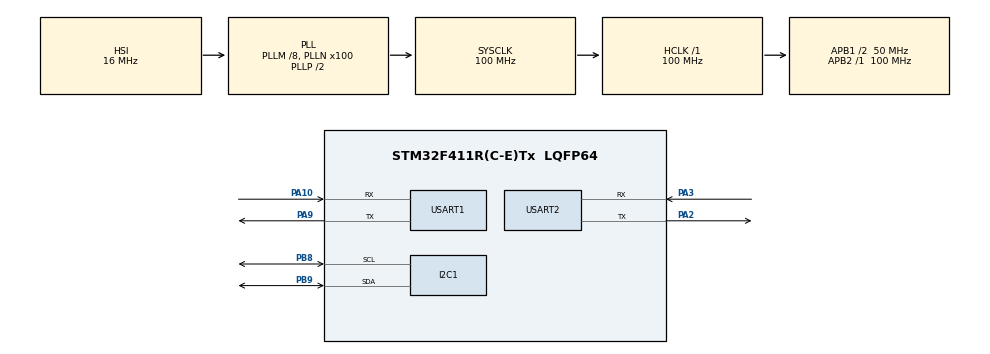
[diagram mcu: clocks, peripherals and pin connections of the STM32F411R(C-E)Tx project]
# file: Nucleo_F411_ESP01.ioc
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Mcu.Family=STM32F4
Mcu.Name=STM32F411R(C-E)Tx
Mcu.Package=LQFP64
NVIC.PriorityGroup=NVIC_PRIORITYGROUP_4
NVIC.USART1_IRQn=true\:0\:0\:false\:false\:true\:true\:true
PA10.Mode=Asynchronous
PA10.Signal=USART1_RX
PA13.Mode=Trace_Asynchronous_SW
PA13.Signal=SYS_JTMS-SWDIO
PA14.Mode=Trace_Asynchronous_SW
PA14.Signal=SYS_JTCK-SWCLK
PA2.Mode=Asynchronous
PA2.Signal=USART2_TX
PA3.Mode=Asynchronous
PA3.Signal=USART2_RX
PA9.Mode=Asynchronous
PA9.Signal=USART1_TX
PB3.Mode=Trace_Asynchronous_SW
PB3.Signal=SYS_JTDO-SWO
PB8.Mode=I2C
PB8.Signal=I2C1_SCL
PB9.Mode=I2C
PB9.Signal=I2C1_SDA
PC14-OSC32_IN.Mode=LSE-External-Oscillator
PC14-OSC32_IN.Signal=RCC_OSC32_IN
PC15-OSC32_OUT.Mode=LSE-External-Oscillator
PC15-OSC32_OUT.Signal=RCC_OSC32_OUT
PH0\ -\ OSC_IN.Mode=HSE-External-Clock-Source
PH0\ -\ OSC_IN.Signal=RCC_OSC_IN
PH1\ -\ OSC_OUT.Mode=HSE-External-Clock-Source
PH1\ -\ OSC_OUT.Signal=RCC_OSC_OUT
ProjectManager.HeapSize=0x200
ProjectManager.StackSize=0x400
ProjectManager.TargetToolchain=STM32CubeIDE
RCC.48MHZClocksFreq_Value=50000000
RCC.AHBFreq_Value=100000000
RCC.APB1CLKDivider=RCC_HCLK_DIV2
RCC.APB1Freq_Value=50000000
RCC.APB1TimFreq_Value=100000000
RCC.APB2Freq_Value=100000000
RCC.APB2TimFreq_Value=100000000
RCC.CortexFreq_Value=100000000
RCC.HCLKFreq_Value=100000000
RCC.HSE_VALUE=25000000
RCC.HSI_VALUE=16000000
RCC.PLLM=8
RCC.PLLN=100
RCC.SYSCLKFreq_VALUE=100000000
RCC.SYSCLKSource=RCC_SYSCLKSOURCE_PLLCLK
RCC.VCOOutputFreq_Value=200000000
USART1.VirtualMode=VM_ASYNC
USART2.VirtualMode=VM_ASYNC
board=custom

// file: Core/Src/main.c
/* USER CODE BEGIN Header */
/**
  ******************************************************************************
  * @file           : main.c
  * @brief          : Main program body
  ******************************************************************************
  * @attention
  *
  * Copyright (c) 2022 STMicroelectronics.
  * All rights reserved.
  *
  * This software is licensed under terms that can be found in the LICENSE file
  * in the root directory of this software component.
  * If no LICENSE file comes with this software, it is provided AS-IS.
  *
  ******************************************************************************
  */
/* USER CODE END Header */
#include "main.h"

/* USER CODE BEGIN Includes */
#include <stdio.h>
#include <stdlib.h>
#include <string.h>
//#include "tsl2561.h"
#include "BME280_STM32.h"

#include "ESPDataLogger.h"

/* USER CODE END Includes */

I2C_HandleTypeDef hi2c1;

UART_HandleTypeDef huart1;
UART_HandleTypeDef huart2;

void SystemClock_Config(void);
static void MX_GPIO_Init(void);
static void MX_I2C1_Init(void);
static void MX_USART1_UART_Init(void);
static void MX_USART2_UART_Init(void);

/* USER CODE BEGIN 0 */
float Temperature, Pressure, Humidity;

/* USER CODE END 0 */

int main(void)
{

  /* MCU Configuration--------------------------------------------------------*/

  /* Reset of all peripherals, Initializes the Flash interface and the Systick. */
  HAL_Init();

  /* Configure the system clock */
  SystemClock_Config();

  /* Initialize all configured peripherals */
  MX_GPIO_Init();
  MX_I2C1_Init();
  MX_USART1_UART_Init();
  MX_USART2_UART_Init();
  /* USER CODE BEGIN 2 */

  BME280_Config(OSRS_2, OSRS_16, OSRS_1, MODE_NORMAL, T_SB_0p5, IIR_16);

  char buffer[256];
  sprintf(buffer, "Start\n");
  HAL_UART_Transmit(&huart2, (uint8_t*)buffer, strlen(buffer), HAL_MAX_DELAY);
  HAL_Delay(1000);

//  uint16_t broadband, ir;
//  uint32_t lux;

  // Initialise luminosity sensor
//  TSL2561_Init(&hi2c1);
//  uint16_t Value_Buf [4];
  float Value_Buf [4];

  ESP_Init("OnePlus_8T", "E12345678_1");
//  ESP_Init("molson", "E123456m");
  /* USER CODE END 2 */

  /* Infinite loop */
  while (1)
  {

    /* USER CODE BEGIN 3 */
//	  TSL2561_SetTiming(&hi2c1, TSL2561_INTEGRATIONTIME_101MS, TSL2561_GAIN_0X);

//	  // Check luminosity level and calculate lux
//	  TSL2561_GetLuminosity(&hi2c1, &broadband, &ir);
//	  lux = TSL2561_CalculateLux(broadband, ir);
//
//	  int sz=sprintf(buffer, "broadband %u IR %u LUX %lu\r\n", broadband, ir, lux);
//	  HAL_UART_Transmit(&huart2, (uint8_t*)buffer, sz, HAL_MAX_DELAY);
	  BME280_Measure();
//Temperature, Pressure, Humidity
	  Value_Buf[0] = Temperature;
	  Value_Buf[1] = Pressure;
	  Value_Buf[2] = Humidity;
	  ESP_Send_Multi_Float ("7QR1WMIRHFUXG9NL", 3, Value_Buf);
	  //ESP_Send_Multi("7QR1WMIRHFUXG9NL", 3, Value_Buf);

	  HAL_Delay(15000); // must be at least 15 sec delay between 2 send
  }
  /* USER CODE END 3 */
}

void SystemClock_Config(void)
{
  RCC_OscInitTypeDef RCC_OscInitStruct = {0};
  RCC_ClkInitTypeDef RCC_ClkInitStruct = {0};

  /** Configure the main internal regulator output voltage
  */
  __HAL_RCC_PWR_CLK_ENABLE();
  __HAL_PWR_VOLTAGESCALING_CONFIG(PWR_REGULATOR_VOLTAGE_SCALE1);
  /** Initializes the RCC Oscillators according to the specified parameters
  * in the RCC_OscInitTypeDef structure.
  */
  RCC_OscInitStruct.OscillatorType = RCC_OSCILLATORTYPE_HSI;
  RCC_OscInitStruct.HSIState = RCC_HSI_ON;
  RCC_OscInitStruct.HSICalibrationValue = RCC_HSICALIBRATION_DEFAULT;
  RCC_OscInitStruct.PLL.PLLState = RCC_PLL_ON;
  RCC_OscInitStruct.PLL.PLLSource = RCC_PLLSOURCE_HSI;
  RCC_OscInitStruct.PLL.PLLM = 8;
  RCC_OscInitStruct.PLL.PLLN = 100;
  RCC_OscInitStruct.PLL.PLLP = RCC_PLLP_DIV2;
  RCC_OscInitStruct.PLL.PLLQ = 4;
  if (HAL_RCC_OscConfig(&RCC_OscInitStruct) != HAL_OK)
  {
    Error_Handler();
  }
  /** Initializes the CPU, AHB and APB buses clocks
  */
  RCC_ClkInitStruct.ClockType = RCC_CLOCKTYPE_HCLK|RCC_CLOCKTYPE_SYSCLK
                              |RCC_CLOCKTYPE_PCLK1|RCC_CLOCKTYPE_PCLK2;
  RCC_ClkInitStruct.SYSCLKSource = RCC_SYSCLKSOURCE_PLLCLK;
  RCC_ClkInitStruct.AHBCLKDivider = RCC_SYSCLK_DIV1;
  RCC_ClkInitStruct.APB1CLKDivider = RCC_HCLK_DIV2;
  RCC_ClkInitStruct.APB2CLKDivider = RCC_HCLK_DIV1;

  if (HAL_RCC_ClockConfig(&RCC_ClkInitStruct, FLASH_LATENCY_3) != HAL_OK)
  {
    Error_Handler();
  }
}

static void MX_I2C1_Init(void)
{

  hi2c1.Instance = I2C1;
  hi2c1.Init.ClockSpeed = 100000;
  hi2c1.Init.DutyCycle = I2C_DUTYCYCLE_2;
  hi2c1.Init.OwnAddress1 = 0;
  hi2c1.Init.AddressingMode = I2C_ADDRESSINGMODE_7BIT;
  hi2c1.Init.DualAddressMode = I2C_DUALADDRESS_DISABLE;
  hi2c1.Init.OwnAddress2 = 0;
  hi2c1.Init.GeneralCallMode = I2C_GENERALCALL_DISABLE;
  hi2c1.Init.NoStretchMode = I2C_NOSTRETCH_DISABLE;
  if (HAL_I2C_Init(&hi2c1) != HAL_OK)
  {
    Error_Handler();
  }

}

static void MX_USART1_UART_Init(void)
{

  huart1.Instance = USART1;
  huart1.Init.BaudRate = 115200;
  huart1.Init.WordLength = UART_WORDLENGTH_8B;
  huart1.Init.StopBits = UART_STOPBITS_1;
  huart1.Init.Parity = UART_PARITY_NONE;
  huart1.Init.Mode = UART_MODE_TX_RX;
  huart1.Init.HwFlowCtl = UART_HWCONTROL_NONE;
  huart1.Init.OverSampling = UART_OVERSAMPLING_16;
  if (HAL_UART_Init(&huart1) != HAL_OK)
  {
    Error_Handler();
  }

}

static void MX_USART2_UART_Init(void)
{

  huart2.Instance = USART2;
  huart2.Init.BaudRate = 115200;
  huart2.Init.WordLength = UART_WORDLENGTH_8B;
  huart2.Init.StopBits = UART_STOPBITS_1;
  huart2.Init.Parity = UART_PARITY_NONE;
  huart2.Init.Mode = UART_MODE_TX_RX;
  huart2.Init.HwFlowCtl = UART_HWCONTROL_NONE;
  huart2.Init.OverSampling = UART_OVERSAMPLING_16;
  if (HAL_UART_Init(&huart2) != HAL_OK)
  {
    Error_Handler();
  }

}

static void MX_GPIO_Init(void)
{

  /* GPIO Ports Clock Enable */
  __HAL_RCC_GPIOC_CLK_ENABLE();
  __HAL_RCC_GPIOH_CLK_ENABLE();
  __HAL_RCC_GPIOA_CLK_ENABLE();
  __HAL_RCC_GPIOB_CLK_ENABLE();

}

void Error_Handler(void)
{
  __disable_irq();
  while (1)
  {
  }
}
